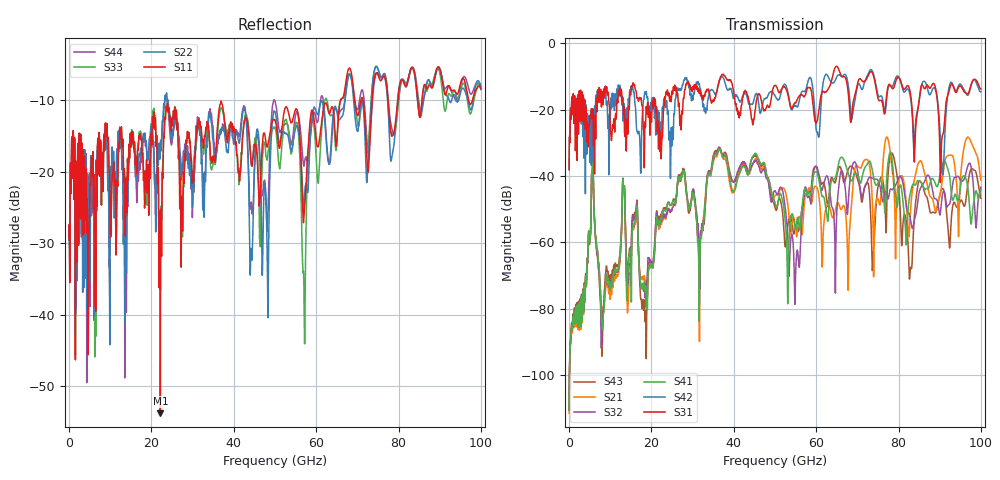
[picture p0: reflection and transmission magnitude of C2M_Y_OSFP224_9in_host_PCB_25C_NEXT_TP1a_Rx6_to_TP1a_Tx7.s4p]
# GHz S RI R 45
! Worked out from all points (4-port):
!   4000 points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, 25 MHz to 100 GHz, reference 45 ohm
!   strongest paths, dB at 25 MHz, 25.02 GHz, 50.02 GHz, 75.03 GHz, 100 GHz:
!     S31: -38.0, -14.4, -12.8, -16.6, -13.8
!     S42: -38.2, -30.2, -15.9, -15.6, -14.6
!     S41: -110.6, -48.3, -48.2, -42.1, -44.2
!     S32: -110.6, -50.0, -44.5, -41.4, -43.4
!     S21: -111.5, -49.8, -45.8, -46.9, -41.2
!     S43: -109.6, -48.2, -49.6, -43.2, -46.7
!   lowest |S11| = -53.8 dB at 22.18 GHz (marker M1), VSWR 1.00, Z = 44.8 + j0.0935 ohm
!   |S11| at or under -10 dB: start of sweep to 65.94 GHz; 71.39 GHz to 73.58 GHz (2.192 GHz wide, 3.02 % of centre); 77.47 GHz to 79.82 GHz (2.352 GHz wide, 2.99 % of centre) (the widest 3 of 6)
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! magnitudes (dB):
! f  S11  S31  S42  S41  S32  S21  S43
! 25 MHz  -29.2  -38.0  -38.2  -110.6  -110.6  -111.5  -109.6
! 5.75 GHz  -17.3  -19.8  -35.7  -35.8  -35.9  -36.0  -35.8
! 8.15 GHz  -18.6  -16.1  -16.9  -86.2  -85.0  -82.0  -85.8
! 13.22 GHz  -19.9  -21.6  -20.0  -44.0  -44.0  -44.3  -43.7
! 18.2 GHz  -20.0  -28.4  -16.7  -73.0  -73.6  -70.7  -78.8
! 22.18 GHz  -53.8  -26.5  -24.7  -53.4  -53.8  -54.7  -52.4
! 100 GHz  -8.3  -13.8  -14.6  -44.2  -43.4  -41.2  -46.7
